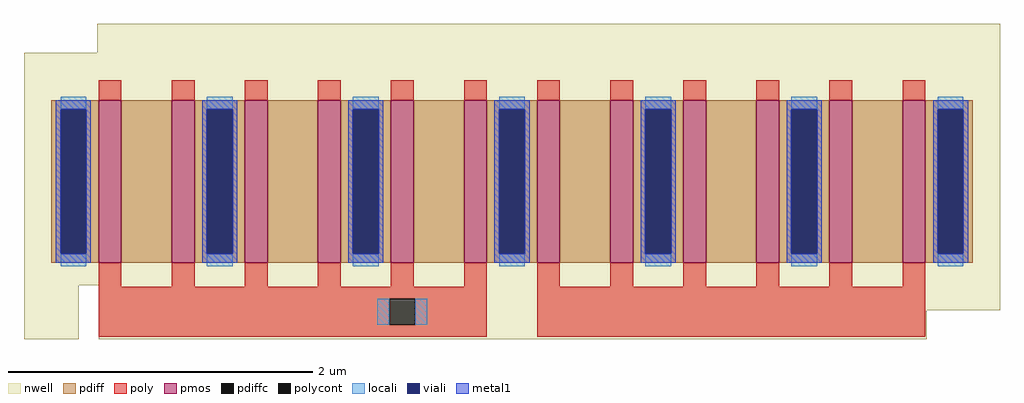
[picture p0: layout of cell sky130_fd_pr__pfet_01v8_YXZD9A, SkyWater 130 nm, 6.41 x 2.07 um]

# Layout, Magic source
magic
tech sky130B
magscale 1 2
<< nwell >>
rect -545 169 641 207
rect -641 -136 641 169
rect -641 -207 -569 -136
rect -543 -169 641 -136
rect -543 -207 545 -169
<< pmos >>
rect -543 -107 -513 107
rect -447 -107 -417 107
rect -351 -107 -321 107
rect -255 -107 -225 107
rect -159 -107 -129 107
rect -63 -107 -33 107
rect 33 -107 63 107
rect 129 -107 159 107
rect 225 -107 255 107
rect 321 -107 351 107
rect 417 -107 447 107
rect 513 -107 543 107
<< pdiff >>
rect -605 95 -543 107
rect -605 -95 -593 95
rect -559 -95 -543 95
rect -605 -107 -543 -95
rect -513 -107 -447 107
rect -417 95 -351 107
rect -417 -95 -401 95
rect -367 -95 -351 95
rect -417 -107 -351 -95
rect -321 -107 -255 107
rect -225 95 -159 107
rect -225 -95 -209 95
rect -175 -95 -159 95
rect -225 -107 -159 -95
rect -129 -107 -63 107
rect -33 95 33 107
rect -33 -95 -17 95
rect 17 -95 33 95
rect -33 -107 33 -95
rect 63 -107 129 107
rect 159 95 225 107
rect 159 -95 175 95
rect 209 -95 225 95
rect 159 -107 225 -95
rect 255 -107 321 107
rect 351 95 417 107
rect 351 -95 367 95
rect 401 -95 417 95
rect 351 -107 417 -95
rect 447 -107 513 107
rect 543 95 605 107
rect 543 -95 559 95
rect 593 -95 605 95
rect 543 -107 605 -95
<< pdiffc >>
rect -593 -95 -559 95
rect -401 -95 -367 95
rect -209 -95 -175 95
rect -17 -95 17 95
rect 175 -95 209 95
rect 367 -95 401 95
rect 559 -95 593 95
<< poly >>
rect -543 107 -513 133
rect -447 107 -417 133
rect -351 107 -321 133
rect -255 107 -225 133
rect -159 107 -129 133
rect -63 107 -33 133
rect 33 107 63 133
rect 129 107 159 133
rect 225 107 255 133
rect 321 107 351 133
rect 417 107 447 133
rect 513 107 543 133
rect -543 -138 -513 -107
rect -447 -138 -417 -107
rect -351 -138 -321 -107
rect -255 -138 -225 -107
rect -159 -138 -129 -107
rect -63 -138 -33 -107
rect -543 -154 -33 -138
rect -543 -188 -161 -154
rect -127 -188 -33 -154
rect -543 -204 -33 -188
rect 33 -138 63 -107
rect 129 -138 159 -107
rect 225 -138 255 -107
rect 321 -138 351 -107
rect 417 -138 447 -107
rect 513 -138 543 -107
rect 33 -204 543 -138
<< polycont >>
rect -161 -188 -127 -154
<< locali >>
rect -593 95 -559 111
rect -593 -111 -559 -95
rect -401 95 -367 111
rect -401 -111 -367 -95
rect -209 95 -175 111
rect -209 -111 -175 -95
rect -17 95 17 111
rect -17 -111 17 -95
rect 175 95 209 111
rect 175 -111 209 -95
rect 367 95 401 111
rect 367 -111 401 -95
rect 559 95 593 111
rect 559 -111 593 -95
rect -177 -188 -161 -154
rect -127 -188 -111 -154
<< viali >>
rect -593 -95 -559 95
rect -401 -95 -367 95
rect -209 -95 -175 95
rect -17 -95 17 95
rect 175 -95 209 95
rect 367 -95 401 95
rect 559 -95 593 95
<< metal1 >>
rect -599 95 -553 107
rect -599 -95 -593 95
rect -559 -95 -553 95
rect -599 -107 -553 -95
rect -407 95 -361 107
rect -407 -95 -401 95
rect -367 -95 -361 95
rect -407 -107 -361 -95
rect -215 95 -169 107
rect -215 -95 -209 95
rect -175 -95 -169 95
rect -215 -107 -169 -95
rect -23 95 23 107
rect -23 -95 -17 95
rect 17 -95 23 95
rect -23 -107 23 -95
rect 169 95 215 107
rect 169 -95 175 95
rect 209 -95 215 95
rect 169 -107 215 -95
rect 361 95 407 107
rect 361 -95 367 95
rect 401 -95 407 95
rect 361 -107 407 -95
rect 553 95 599 107
rect 553 -95 559 95
rect 593 -95 599 95
rect 553 -107 599 -95
<< properties >>
string gencell sky130_fd_pr__pfet_01v8
string library sky130
string parameters w 1.07 l 0.15 m 1 nf 12 diffcov 100 polycov 100 guard 0 glc 1 grc 1 gtc 1 gbc 1 tbcov 100 rlcov 100 topc 0 botc 1 poverlap 0 doverlap 1 lmin 0.15 wmin 0.42 compatible {sky130_fd_pr__pfet_01v8  sky130_fd_pr__pfet_01v8_lvt sky130_fd_pr__pfet_01v8_hvt  sky130_fd_pr__pfet_g5v0d10v5} full_metal 1 viasrc 100 viadrn 100 viagate 0 viagb 0 viagr 0 viagl 0 viagt 0
<< end >>
